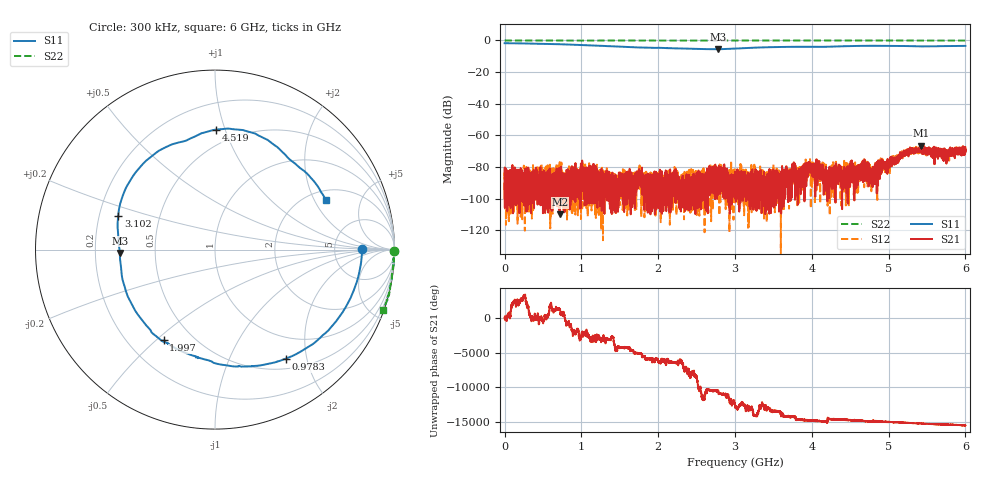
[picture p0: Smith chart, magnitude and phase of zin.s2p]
!  8/10/2020  01:52:19
! Ref Plane: 0.000 mm
# MHZ S MA R  50
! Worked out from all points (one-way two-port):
!   10001 points, 300 kHz to 6 GHz, reference 50 ohm
!   highest |S21| = -66.44 dB at 5.423 GHz (marker M1); lowest = -109.9 dB at 722.1 MHz (marker M2)
!   lowest |S11| = -5.5 dB at 2.778 GHz (marker M3), VSWR 3.26, Z = 15.3 - j0.791 ohm
!   |S11| at or under -10 dB: nowhere
!   |S22| runs from -0.1 to 0.0 dB; largest |S21 - S12| = 0.00023
!   S11 on the Smith chart (normalised r, x): 300 kHz: 10, +0; 978.3 MHz: 0.64, -1.65; 1.997 GHz: 0.35, -0.53; 3.102 GHz: 0.28, +0.16; 4.519 GHz: 0.38, +0.93; 6 GHz: 2.47, +2.48
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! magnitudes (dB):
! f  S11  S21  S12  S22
! 300 kHz  -1.7  -99.7  -94.2  0.0
! 722.1 MHz  -2.4  -109.9  -90.9  0.0
! 978.3 MHz  -2.8  -85.9  -88.9  0.0
! 1 GHz  -2.8  -82.8  -94.4  0.0
! 1.997 GHz  -4.7  -87.5  -94.5  0.0
! 2.001 GHz  -4.6  -86.4  -85.6  0.0
! 2.778 GHz  -5.5  -96.6  -93.5  0.0
! 3 GHz  -5.1  -85.3  -100.7  0.0
! 3.102 GHz  -4.9  -84.4  -88.1  0.0
! 4 GHz  -4.0  -79.5  -79.5  0.0
! 4.519 GHz  -3.5  -75.7  -79.0  0.0
! 4.803 GHz  -3.3  -86.1  -82.1  0.0
! 4.897 GHz  -3.3  -78.1  -78.3  0.0
! 4.978 GHz  -3.3  -76.0  -79.5  0.0
! 5 GHz  -3.4  -79.3  -77.7  0.0
! 5.226 GHz  -3.5  -70.8  -70.2  0.0
! 5.291 GHz  -3.6  -69.7  -70.3  0.0
! 5.423 GHz  -3.7  -66.4  -70.9  0.0
! 5.505 GHz  -3.7  -70.0  -71.9  0.0
! 5.624 GHz  -3.6  -69.4  -68.2  0.0
! 5.769 GHz  -3.5  -70.7  -70.2  -0.1
! 6 GHz  -3.4  -68.7  -66.9  0.0
